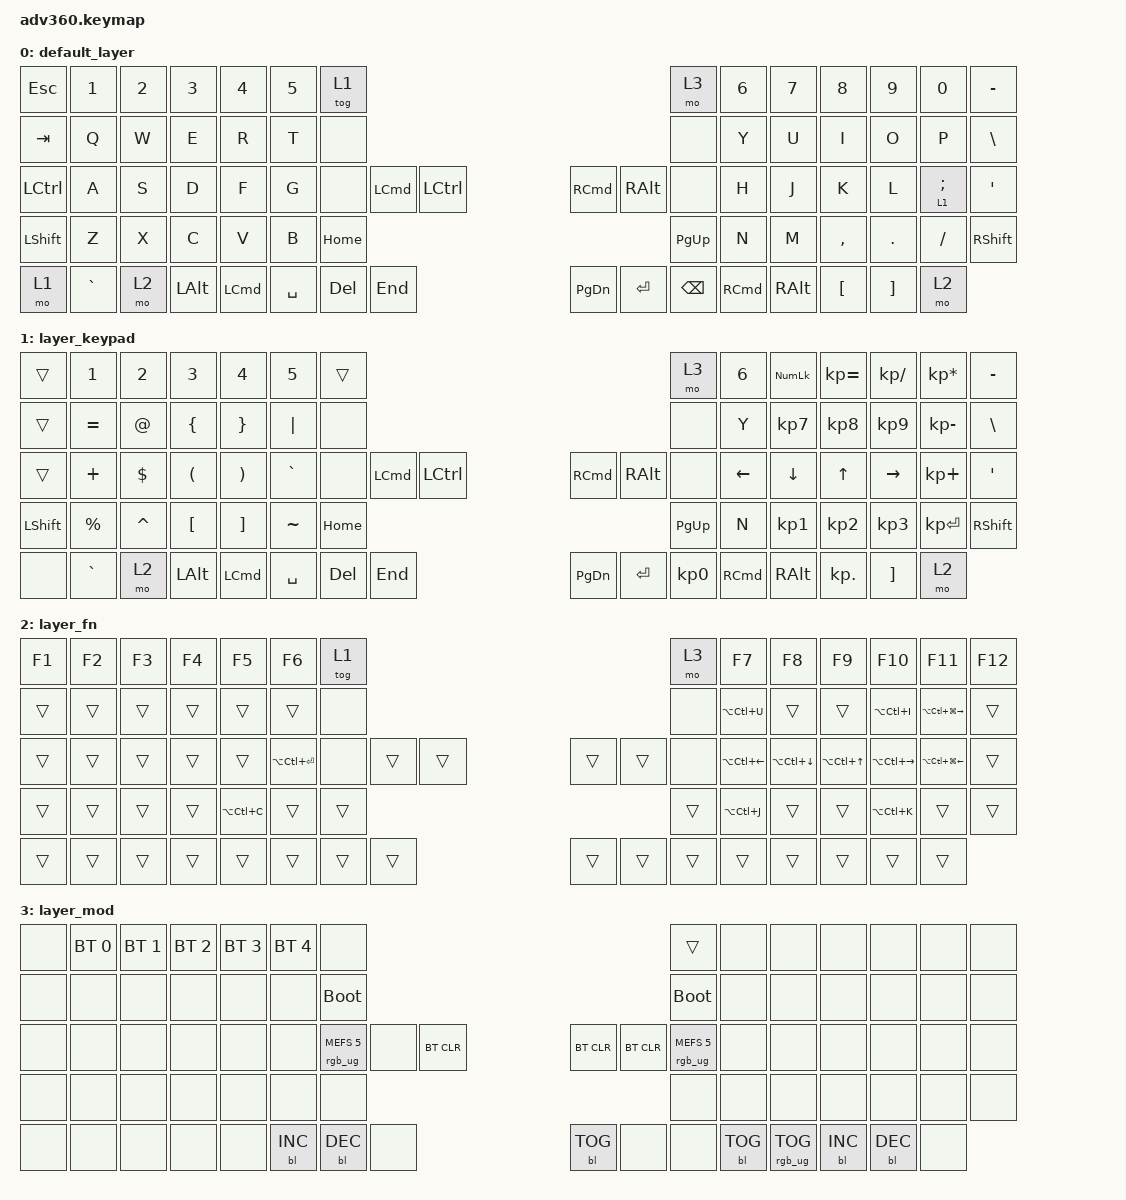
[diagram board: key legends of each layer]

/*
 * Copyright (c) 2020 The ZMK Contributors
 *
 * SPDX-License-Identifier: MIT
 */


/* THIS FILE WAS GENERATED!
 *
 * This file was generated automatically. You may or may not want to
 * edit it directly.
 */

#include <behaviors.dtsi>
#include <dt-bindings/zmk/keys.h>
#include <dt-bindings/zmk/bt.h>
#include <dt-bindings/zmk/rgb.h>
#include <dt-bindings/zmk/backlight.h>


/ {
  behaviors {
    #include "macros.dtsi"

    hm: homerow_mods {
        compatible = "zmk,behavior-hold-tap";
        label = "HOMEROW_MODS";
        #binding-cells = <2>;
        tapping-term-ms = <200>;
        quick_tap_ms = <175>;
        flavor = "tap-preferred";
        bindings = <&kp>, <&kp>;
    };
  };

    keymap {
        compatible = "zmk,keymap";


        default_layer {
            bindings = <
 &kp ESC     &kp N1    &kp N2    &kp N3     &kp N4  &kp N5               &tog 1                                                                &mo 3  &kp N6  &kp N7     &kp N8    &kp N9    &kp N0  &kp MINUS
   &kp TAB      &kp Q     &kp W     &kp E      &kp R   &kp T                &none                                                                &none   &kp Y   &kp U      &kp I     &kp O     &kp P   &kp BSLH
   &kp LCTRL      &kp A     &kp S     &kp D      &kp F   &kp G                &none  &kp LCMD  &kp LCTRL                   &kp RCMD &kp RALT     &none   &kp H   &kp J      &kp K     &kp L  &lt 1 SEMI    &kp SQT
 &kp LSHFT      &kp Z     &kp X     &kp C      &kp V   &kp B                                  &kp HOME                  &kp PG_UP                        &kp N   &kp M  &kp COMMA   &kp DOT  &kp FSLH  &kp RSHFT
     &mo 1  &kp GRAVE  &mo 2  &kp LALT  &kp LCMD                    &kp SPACE    &kp DEL   &kp END                  &kp PG_DN  &kp ENTER  &kp BSPC          &kp RCMD   &kp RALT  &kp LBKT  &kp RBKT      &mo 2
            >;
        };

        layer_keypad {
            bindings = <
 &trans     &kp N1    &kp N2    &kp N3     &kp N4  &kp N5              &trans                                                                 &mo 3  &kp N6  &kp KP_NUM  &kp KP_EQUAL  &kp KP_DIVIDE  &kp KP_MULTIPLY  &kp MINUS
   &trans      &kp EQUAL     &kp AT_SIGN     &kp LEFT_BRACE      &kp RIGHT_BRACE   &kp PIPE               &none                                                                 &none   &kp Y   &kp KP_N7     &kp KP_N8      &kp KP_N9     &kp KP_MINUS   &kp BSLH
   &trans      &kp PLUS     &kp DOLLAR     &kp LEFT_PARENTHESIS      &kp RIGHT_PARENTHESIS   &kp GRAVE               &none  &kp LCMD  &kp LCTRL                   &kp RCMD  &kp RALT      &none   &kp LEFT   &kp DOWN     &kp UP      &kp RIGHT      &kp KP_PLUS    &kp SQT
 &kp LSHFT      &kp PERCENT     &kp CARET     &kp LEFT_BRACKET      &kp RIGHT_BRACKET   &kp TILDE                                 &kp HOME                  &kp PG_UP                         &kp N   &kp KP_N1     &kp KP_N2      &kp KP_N3     &kp KP_ENTER  &kp RSHFT
     &none  &kp GRAVE  &mo 2  &kp LALT  &kp LCMD                    &kp SPACE    &kp DEL   &kp END                  &kp PG_DN  &kp ENTER  &kp KP_N0              &kp RCMD      &kp RALT     &kp KP_DOT         &kp RBKT      &mo 2
            >;
        };

        layer_fn {
            bindings = <
 &kp F1  &kp F2  &kp F3  &kp F4  &kp F5  &kp F6            &tog 1                                                   &mo 3  &kp F7  &kp F8  &kp F9  &kp F10  &kp F11  &kp F12
 &trans  &trans  &trans  &trans  &trans  &trans             &none                                                   &none  &kp LA(LC(U))    &trans  &trans   &kp LA(LC(I))   &kp LA(LC(LG(RIGHT)))  &trans
 &trans  &trans  &trans  &trans  &trans  &kp LA(LC(ENTER))  &none  &trans  &trans                  &trans  &trans   &none  &kp LA(LC(LEFT)) &kp LA(LC(DOWN)) &kp LA(LC(UP))  &kp LA(LC(RIGHT))      &kp LA(LC(LG(LEFT)))   &trans
 &trans  &trans  &trans  &trans  &kp LA(LC(C))  &trans                &trans                  &trans                  &kp LA(LC(J))    &trans  &trans   &kp LA(LC(K))   &trans  &trans
 &trans  &trans  &trans  &trans  &trans                    &trans  &trans  &trans                  &trans  &trans  &trans          &trans  &trans   &trans   &trans   &trans
            >;
        };

        layer_mod {
            bindings = <
  &none  &bt BT_SEL 0  &bt BT_SEL 1  &bt BT_SEL 2  &bt BT_SEL 3  &bt BT_SEL 4                             &none                                                                                  &trans   &none       &none            &none       &none       &none   &none
  &none         &none         &none         &none         &none         &none                       &bootloader                                                                             &bootloader   &none       &none            &none       &none       &none   &none
  &none         &none         &none         &none         &none         &none            &rgb_ug RGB_MEFS_CMD 5       &none  &bt BT_CLR                  &bt BT_CLR  &bt BT_CLR  &rgb_ug RGB_MEFS_CMD 5   &none       &none            &none       &none       &none   &none
  &none         &none         &none         &none         &none         &none                                                     &none                       &none                                       &none       &none            &none       &none       &none   &none
  &none         &none         &none         &none         &none                                      &bl BL_INC  &bl BL_DEC       &none                  &bl BL_TOG       &none                   &none          &bl BL_TOG  &rgb_ug RGB_TOG  &bl BL_INC  &bl BL_DEC   &none
            >;
        };

    };
};
